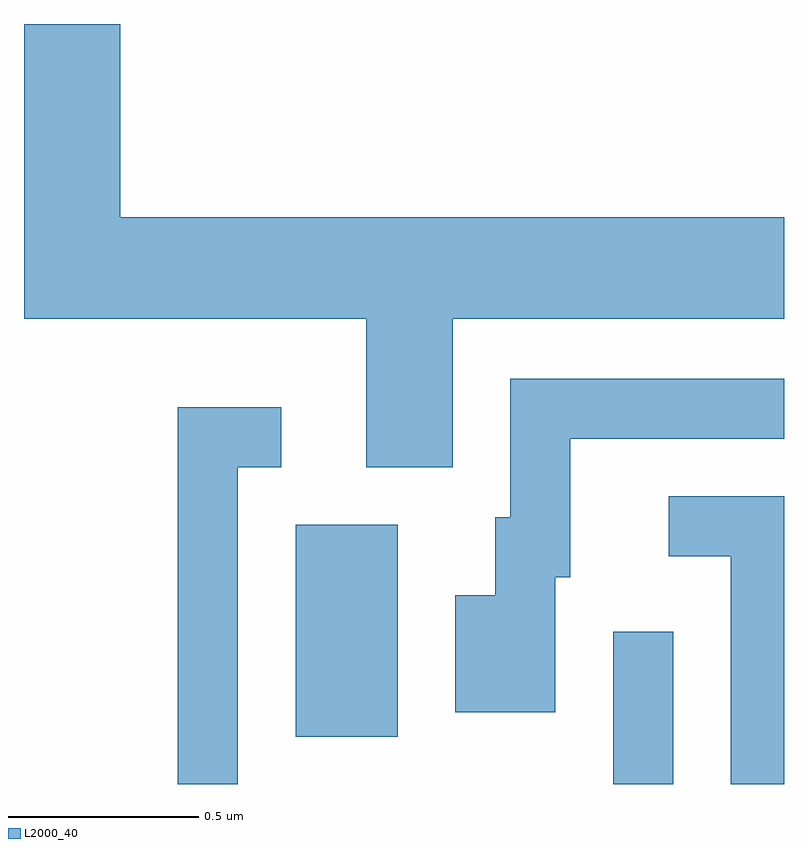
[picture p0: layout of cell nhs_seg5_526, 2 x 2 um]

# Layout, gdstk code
import gdstk
lib = gdstk.Library(unit=1e-6, precision=1e-09)
def R(c, l, rs):  # rectangles x0, y0, x1, y1
    for r in rs: c.add(gdstk.rectangle(r[:2], r[2:], *l))
def P(c, l, *ps):  # polygons
    for p in ps: c.add(gdstk.Polygon(p, *l))
L2000_40 = (2000, 40)

nhs_seg5_526 = lib.new_cell('nhs_seg5_526')
R(nhs_seg5_526, L2000_40, [(190.161,1511.072,190.319,1511.473), (189.326,1511.196,189.594,1511.754)])
P(nhs_seg5_526, L2000_40, [(189.739,1512.296),(190.611,1512.296),(190.611,1512.564),(188.864,1512.564),(188.864,1513.072),(188.611,1513.072),(188.611,1512.296),(189.511,1512.296),(189.511,1511.906),(189.739,1511.906)],
  [(190.009,1511.616),(190.049,1511.616),(190.049,1511.981),(190.611,1511.981),(190.611,1512.139),(189.891,1512.139),(189.891,1511.774),(189.851,1511.774),(189.851,1511.569),(189.746,1511.569),(189.746,1511.261),(190.009,1511.261)],
  [(189.174,1511.906),(189.288,1511.906),(189.288,1512.064),(189.016,1512.064),(189.016,1511.072),(189.174,1511.072)],
  [(190.611,1511.829),(190.308,1511.829),(190.308,1511.671),(190.471,1511.671),(190.471,1511.072),(190.611,1511.072)])

lib.write_gds('nhs_seg5_526.gds')
